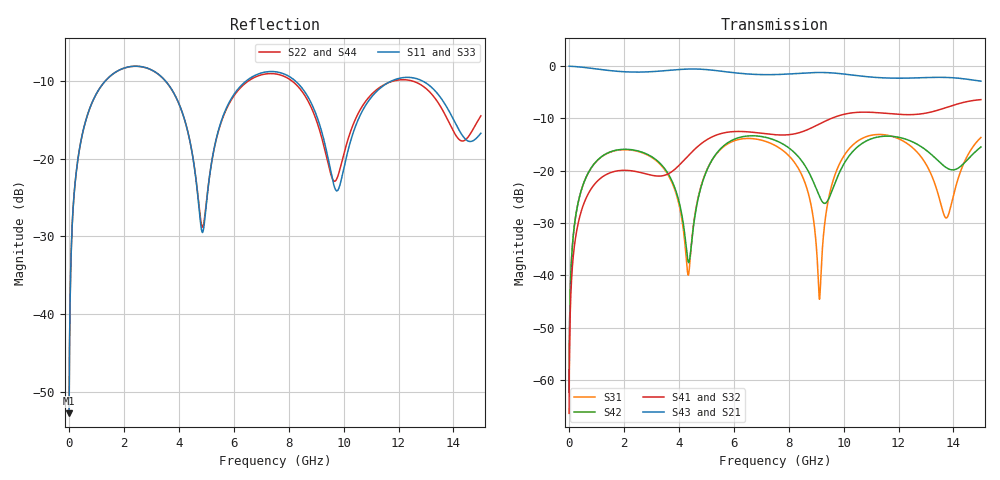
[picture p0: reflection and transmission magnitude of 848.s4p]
! Created with skrf 1.8.0 (http://scikit-rf.org).
# GHz S RI R 50.0
!freq ReS11 ImS11 ReS12 ImS12 ReS13 ImS13
! ReS14 ImS14
! ReS21 ImS21 ReS22 ImS22 ReS23 ImS23
! ReS24 ImS24
! ReS31 ImS31 ReS32 ImS32 ReS33 ImS33
! ReS34 ImS34
! ReS41 ImS41 ReS42 ImS42 ReS43 ImS43
! ReS44 ImS44
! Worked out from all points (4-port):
!   2499 points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, 5 MHz to 15 GHz, reference 50 ohm
!   strongest paths, dB at 5 MHz, 3.476 GHz, 7.19 GHz, 11.1 GHz, 15 GHz:
!     S43: 0.0, -0.9, -1.6, -2.1, -2.9
!     S21: 0.0, -0.9, -1.6, -2.1, -2.9
!     S41: -66.4, -20.9, -13.0, -8.9, -6.4
!     S32: -66.4, -20.9, -13.0, -8.8, -6.4
!     S42: -62.3, -19.5, -13.7, -13.7, -15.5
!     S31: -62.3, -19.7, -14.4, -13.1, -13.6
!   lowest |S11| = -52.7 dB at 5 MHz (marker M1), VSWR 1.00, Z = 50.2 + j0.14 ohm
!   |S11| at or under -10 dB: 3.506 GHz to 6.466 GHz (2.96 GHz wide, 59.4 % of centre); 8.233 GHz to 11.77 GHz (3.536 GHz wide, 35.4 % of centre); 12.85 GHz to end of sweep (the widest 3 of 4)
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0.005  0.00184 0.0014  0.9981 -0.00359  9.43e-05 0.00076  -9.14e-05 -0.000473
       0.9981 -0.00359  0.00184 0.0014  -9.14e-05 -0.000473  9.44e-05 0.00076
       9.43e-05 0.00076  -9.14e-05 -0.000473  0.00184 0.0014  0.9981 -0.00359
       -9.14e-05 -0.000473  9.44e-05 0.00076  0.9981 -0.00359  0.00184 0.0014
0.3626511  0.037 0.1032  0.9488 -0.2552  0.0183 0.0504  -0.0152 -0.0303
           0.9488 -0.2552  0.037 0.1032  -0.0152 -0.0303  0.0186 0.0503
           0.0183 0.0504  -0.0152 -0.0303  0.037 0.1032  0.9488 -0.2552
           -0.0152 -0.0303  0.0186 0.0503  0.9488 -0.2552  0.037 0.1032
1.77574  0.3435 0.1255  0.3556 -0.817  0.1533 0.0345  -0.0963 0.0265
         0.3556 -0.817  0.3426 0.1266  -0.0963 0.0264  0.1554 0.0296
         0.1533 0.0345  -0.0963 0.0264  0.3434 0.1255  0.3557 -0.817
         -0.0963 0.0265  0.1554 0.0296  0.3557 -0.817  0.3424 0.1266
4.977074  0.0381 0.026  -0.927 0.0147  0.0145 0.0946  0.0115 0.1942
          -0.927 0.0147  0.0406 0.0253  0.0106 0.1943  0.0188 0.0929
          0.0145 0.0946  0.0106 0.1943  0.0379 0.0267  -0.9271 0.0145
          0.0115 0.1942  0.0188 0.0929  -0.9271 0.0145  0.0407 0.0258
9.122551  0.1081 -0.1262  0.7276 0.4739  -0.00577 -0.0013  0.1441 -0.2401
          0.7276 0.4739  0.1101 -0.1057  0.1475 -0.2381  -0.0445 -0.0352
          -0.00577 -0.0013  0.1475 -0.2381  0.1017 -0.1265  0.7276 0.4748
          0.1441 -0.2401  -0.0445 -0.0352  0.7276 0.4748  0.1135 -0.1001
10.36057  0.1167 0.0917  0.7941 -0.1996  0.119 0.1333  -0.1234 -0.3368
          0.7941 -0.1996  0.1338 0.1006  -0.1196 -0.3394  0.0892 0.1272
          0.119 0.1333  -0.1196 -0.3394  0.1098 0.0968  0.7944 -0.1977
          -0.1234 -0.3368  0.0892 0.1272  0.7944 -0.1977  0.1411 0.1001
15  0.1446 0.0157  -0.718 -0.00522  0.0915 0.1866  0.0282 0.4771
    -0.718 -0.00522  0.1759 0.0669  0.0221 0.4765  0.0123 0.1682
    0.0915 0.1866  0.0221 0.4765  0.1486 0.0216  -0.7182 -0.0115
    0.0282 0.4771  0.0123 0.1682  -0.7182 -0.0115  0.1714 0.069
